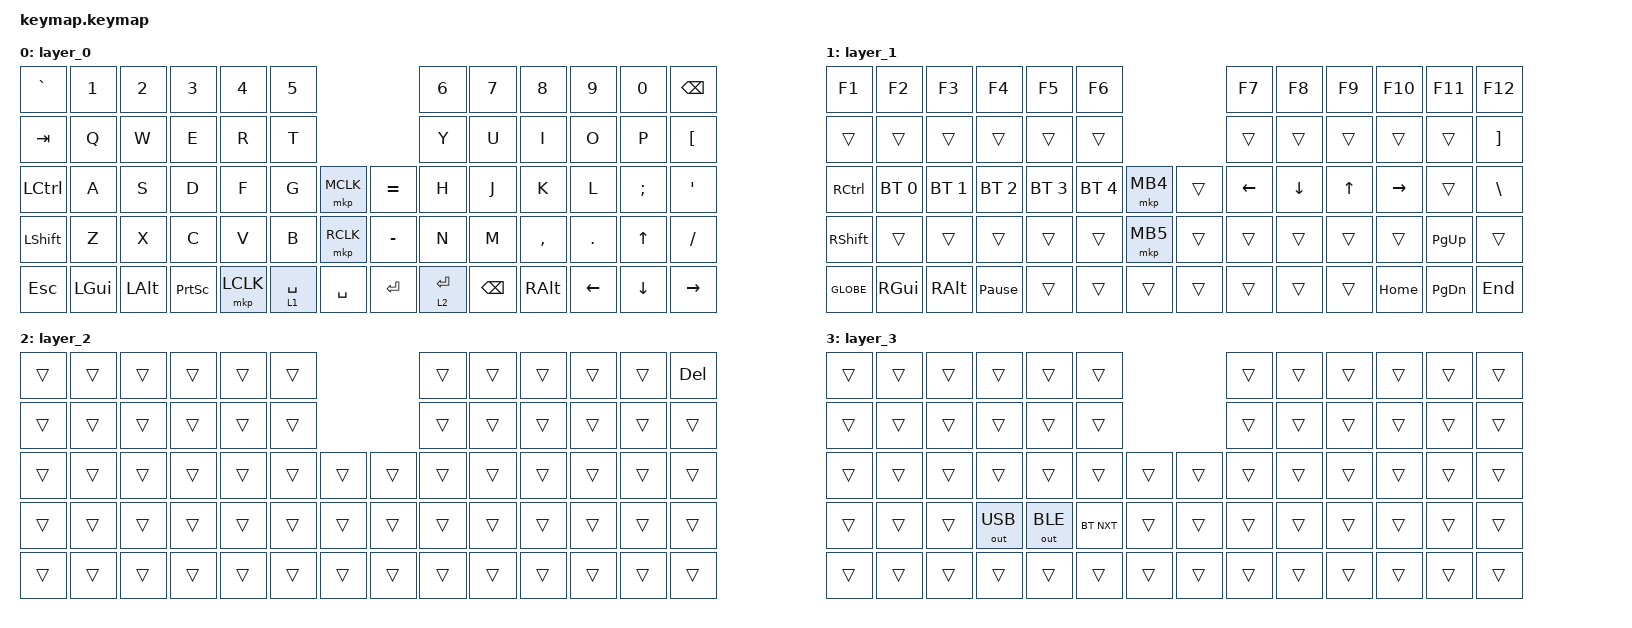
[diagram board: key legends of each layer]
#include <behaviors.dtsi>
#include <dt-bindings/zmk/bt.h>
#include <dt-bindings/zmk/keys.h>
#include <dt-bindings/zmk/outputs.h>
#include <dt-bindings/zmk/pointing.h>

/ {
    combos {
        compatible = "zmk,combos";

        bt_clear {
            bindings = <&bt BT_CLR>;
            key-positions = <28 29>;
            layers = <2>;
        };

        Layer3 {
            bindings = <&lt 3 SPACE>;
            key-positions = <57 60>;
        };
    };

    keymap {
        compatible = "zmk,keymap";

        layer_0 {
            bindings = <
&kp GRAVE   &kp N1        &kp N2        &kp N3           &kp N4     &kp N5                             &kp N6       &kp N7    &kp N8     &kp N9    &kp N0    &kp BSPC
&kp TAB     &kp Q         &kp W         &kp E            &kp R      &kp T                              &kp Y        &kp U     &kp I      &kp O     &kp P     &kp LEFT_BRACKET
&kp LCTRL   &kp A         &kp S         &kp D            &kp F      &kp G        &mkp MCLK  &kp EQUAL  &kp H        &kp J     &kp K      &kp L     &kp SEMI  &kp SQT
&kp LSHFT   &kp Z         &kp X         &kp C            &kp V      &kp B        &mkp RCLK  &kp MINUS  &kp N        &kp M     &kp COMMA  &kp DOT   &kp UP    &kp SLASH
&kp ESCAPE  &kp LEFT_GUI  &kp LEFT_ALT  &kp PRINTSCREEN  &mkp LCLK  &lt 1 SPACE  &kp SPACE  &kp ENTER  &lt 2 ENTER  &kp BSPC  &kp RALT   &kp LEFT  &kp DOWN  &kp RIGHT
            >;
        };

        layer_1 {
            bindings = <
&kp F1           &kp F2         &kp F3         &kp F4           &kp F5        &kp F6                          &kp F7    &kp F8    &kp F9  &kp F10    &kp F11        &kp F12
&trans           &trans         &trans         &trans           &trans        &trans                          &trans    &trans    &trans  &trans     &trans         &kp RIGHT_BRACKET
&kp RCTRL        &bt BT_SEL 0   &bt BT_SEL 1   &bt BT_SEL 2     &bt BT_SEL 3  &bt BT_SEL 4  &mkp MB4  &trans  &kp LEFT  &kp DOWN  &kp UP  &kp RIGHT  &trans         &kp BACKSLASH
&kp RIGHT_SHIFT  &trans         &trans         &trans           &trans        &trans        &mkp MB5  &trans  &trans    &trans    &trans  &trans     &kp PAGE_UP    &trans
&kp GLOBE        &kp RIGHT_GUI  &kp RIGHT_ALT  &kp PAUSE_BREAK  &trans        &trans        &trans    &trans  &trans    &trans    &trans  &kp HOME   &kp PAGE_DOWN  &kp END
            >;
        };

        layer_2 {
            bindings = <
&trans  &trans  &trans  &trans  &trans  &trans                  &trans  &trans  &trans  &trans  &trans  &kp DELETE
&trans  &trans  &trans  &trans  &trans  &trans                  &trans  &trans  &trans  &trans  &trans  &trans
&trans  &trans  &trans  &trans  &trans  &trans  &trans  &trans  &trans  &trans  &trans  &trans  &trans  &trans
&trans  &trans  &trans  &trans  &trans  &trans  &trans  &trans  &trans  &trans  &trans  &trans  &trans  &trans
&trans  &trans  &trans  &trans  &trans  &trans  &trans  &trans  &trans  &trans  &trans  &trans  &trans  &trans
            >;
        };

        layer_3 {
            bindings = <
&trans  &trans  &trans  &trans        &trans        &trans                      &trans  &trans  &trans  &trans  &trans  &trans
&trans  &trans  &trans  &trans        &trans        &trans                      &trans  &trans  &trans  &trans  &trans  &trans
&trans  &trans  &trans  &trans        &trans        &trans      &trans  &trans  &trans  &trans  &trans  &trans  &trans  &trans
&trans  &trans  &trans  &out OUT_USB  &out OUT_BLE  &bt BT_NXT  &trans  &trans  &trans  &trans  &trans  &trans  &trans  &trans
&trans  &trans  &trans  &trans        &trans        &trans      &trans  &trans  &trans  &trans  &trans  &trans  &trans  &trans
            >;
        };
    };
};
